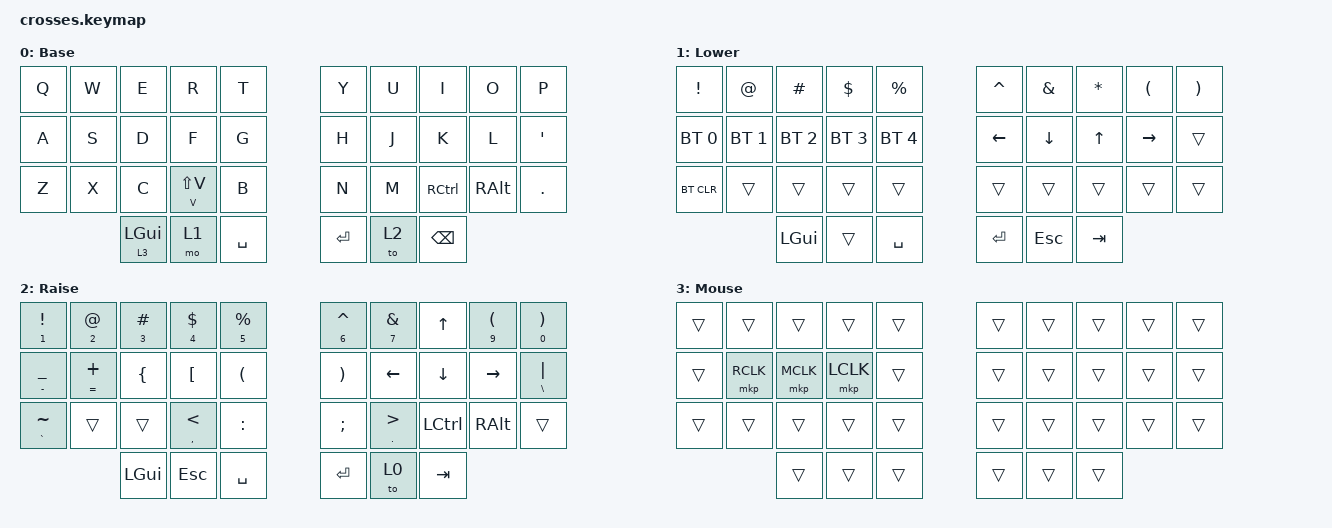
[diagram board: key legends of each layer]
#include <behaviors.dtsi>
#include <dt-bindings/zmk/bt.h>
#include <dt-bindings/zmk/keys.h>
#include <dt-bindings/zmk/pointing.h>

/ {
    chosen { zmk,physical-layout = &gggw_crosses_36_layout; };

    behaviors {
        as: auto_shift {
            compatible = "zmk,behavior-hold-tap";
            #binding-cells = <2>;
            tapping_term_ms = <200>;
            quick_tap_ms = <0>;
            flavor = "tap-preferred";
            bindings = <&kp>, <&kp>;
        };
    };

    keymap {
        compatible = "zmk,keymap";

        default_layer {
            display-name = "Base";
            bindings = <
&kp Q  &kp W  &kp E           &kp R        &kp T      &kp Y    &kp U  &kp I      &kp O     &kp P
&kp A  &kp S  &kp D           &kp F        &kp G      &kp H    &kp J  &kp K      &kp L     &kp SQT
&kp Z  &kp X  &kp C           &as V LS(V)  &kp B      &kp N    &kp M  &kp RCTRL  &kp RALT  &kp DOT
              &lt 3 LEFT_GUI  &mo 1        &kp SPACE  &kp RET  &to 2  &kp BSPC
            >;
        };

        lower_layer {
            display-name = "Lower";
            bindings = <
&kp EXCL      &kp AT        &kp HASH      &kp DLLR      &kp PRCNT     &kp CARET  &kp AMPS  &kp ASTRK  &kp LPAR   &kp RPAR
&bt BT_SEL 0  &bt BT_SEL 1  &bt BT_SEL 2  &bt BT_SEL 3  &bt BT_SEL 4  &kp LEFT   &kp DOWN  &kp UP     &kp RIGHT  &trans
&bt BT_CLR    &trans        &trans        &trans        &trans        &trans     &trans    &trans     &trans     &trans
                            &kp LGUI      &trans        &kp SPACE     &kp RET    &kp ESC   &kp TAB
            >;
        };

        raise_layer {
            display-name = "Raise";
            bindings = <
&as N1 EXCL      &as N2 AT       &as N3 HASH  &as N4 DOLLAR        &as N5 PERCENT  &as N6 CARET  &as N7 AMPS           &kp UP_ARROW  &as N9 LEFT_PARENTHESIS  &as N0 RIGHT_PARENTHESIS
&as MINUS UNDER  &as EQUAL PLUS  &kp LBRC     &kp LBKT             &kp LPAR        &kp RPAR      &kp LEFT              &kp DOWN      &kp RIGHT                &as BSLH PIPE
&as GRAVE TILDE  &trans          &trans       &as COMMA LESS_THAN  &kp COLON       &kp SEMI      &as DOT GREATER_THAN  &kp LCTRL     &kp RALT                 &trans
                                 &kp LGUI     &kp ESC              &kp SPACE       &kp RET       &to 0                 &kp TAB
            >;
        };

        mouse_layer {
            display-name = "Mouse";
            bindings = <
&trans  &trans     &trans     &trans     &trans  &trans  &trans  &trans  &trans  &trans
&trans  &mkp RCLK  &mkp MCLK  &mkp LCLK  &trans  &trans  &trans  &trans  &trans  &trans
&trans  &trans     &trans     &trans     &trans  &trans  &trans  &trans  &trans  &trans
                   &trans     &trans     &trans  &trans  &trans  &trans
            >;
        };
    };
};
